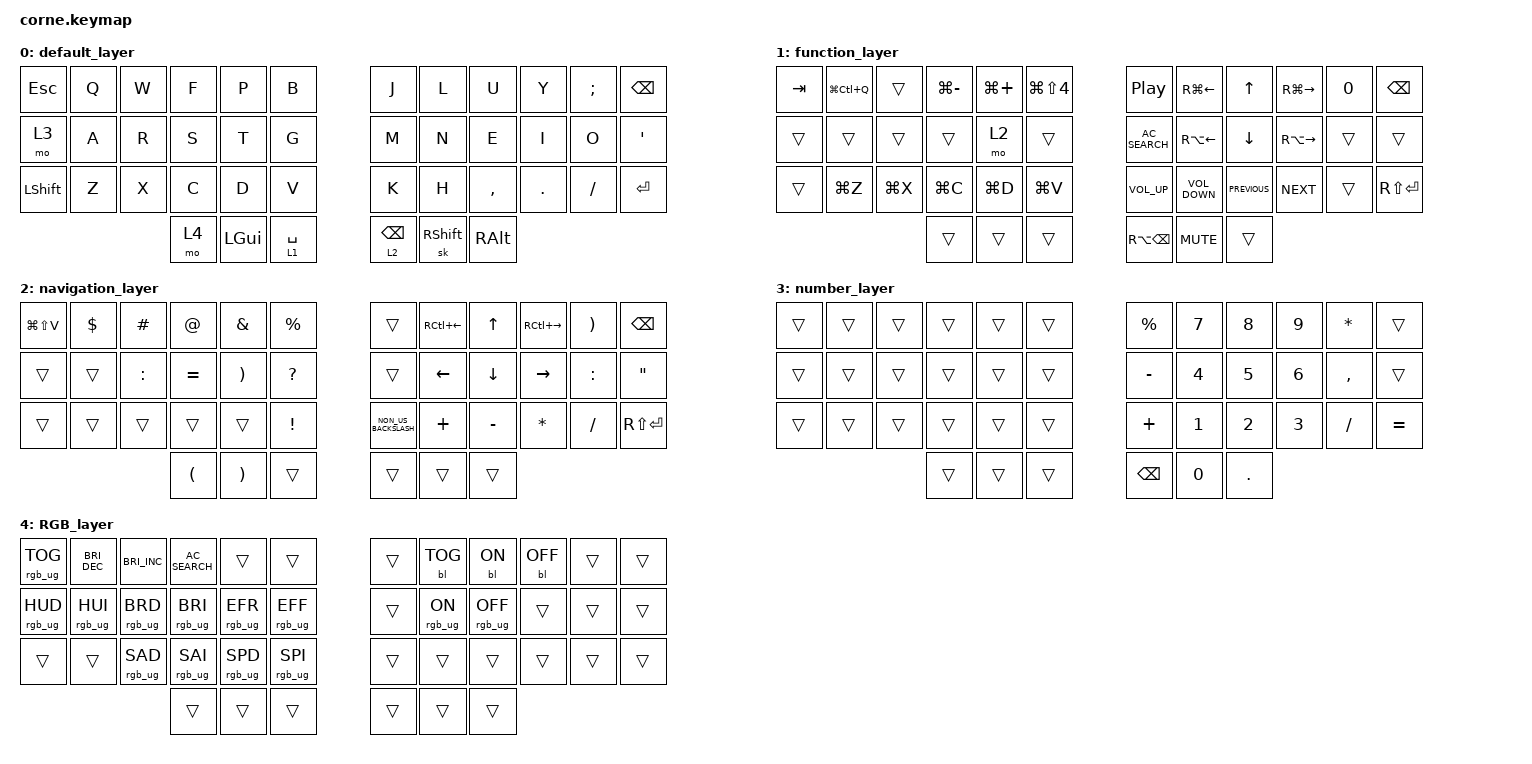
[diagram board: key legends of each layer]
/*
 * Copyright (c) 2020 The ZMK Contributors
 *
 * SPDX-License-Identifier: MIT
 */

#include <behaviors.dtsi>
#include <dt-bindings/zmk/backlight.h>
#include <dt-bindings/zmk/keys.h>
#include <dt-bindings/zmk/rgb.h>

/ {
    keymap {
        compatible = "zmk,keymap";

        default_layer {
            // -----------------------------------------------------------------------------------------
            // |  TAB |  Q  |  W  |  E  |  R  |  T  |   |  Y  |  U   |  I  |  O  |  P  | BKSP |
            // | CTRL |  A  |  S  |  D  |  F  |  G  |   |  H  |  J   |  K  |  L  |  ;  |  '   |
            // | SHFT |  Z  |  X  |  C  |  V  |  B  |   |  N  |  M   |  ,  |  .  |  /  | ESC  |
            //                    | GUI | LWR | SPC |   | ENT | RSE  | ALT |

            bindings = <
&kp ESCAPE  &kp Q  &kp W  &kp F  &kp P         &kp B          &kp J            &kp L            &kp U      &kp Y    &kp SEMICOLON  &kp BSPC
&mo 3       &kp A  &kp R  &kp S  &kp T         &kp G          &kp M            &kp N            &kp E      &kp I    &kp O          &kp SQT
&kp LSHFT   &kp Z  &kp X  &kp C  &kp D         &kp V          &kp K            &kp H            &kp COMMA  &kp DOT  &kp FSLH       &kp ENTER
                          &mo 4  &kp LEFT_GUI  &lt 1 SPACE    &lt 2 BACKSPACE  &sk RIGHT_SHIFT  &kp RALT
            >;
        };

        function_layer {
            // -----------------------------------------------------------------------------------------
            // |  TAB |  1  |  2  |  3  |  4  |  5  |   |  6  |  7  |  8  |  9  |  0  | BKSP |
            // | BTCLR| BT1 | BT2 | BT3 | BT4 | BT5 |   | LFT | DWN |  UP | RGT |     |      |
            // | SHFT |     |     |     |     |     |   |     |     |     |     |     |      |
            //                    | GUI |     | SPC |   | ENT |     | ALT |

            bindings = <
&kp TAB  &kp LG(LC(Q))  &trans     &kp LG(MINUS)  &kp LG(PLUS)  &kp LG(LS(NUMBER_4))    &kp C_PLAY_PAUSE   &kp RG(LEFT_ARROW)  &kp UP_ARROW    &kp RG(RIGHT_ARROW)  &kp N0  &kp BSPC
&trans   &trans         &trans     &trans         &mo 2         &trans                  &kp C_AC_SEARCH    &kp RA(LEFT_ARROW)  &kp DOWN_ARROW  &kp RA(RIGHT)        &trans  &trans
&trans   &kp LG(Z)      &kp LG(X)  &kp LG(C)      &kp LG(D)     &kp LG(V)               &kp C_VOLUME_UP    &kp C_VOLUME_DOWN   &kp C_PREVIOUS  &kp C_NEXT           &trans  &kp RS(RETURN)
                                   &trans         &trans        &trans                  &kp RA(BACKSPACE)  &kp C_MUTE          &trans
            >;
        };

        navigation_layer {
            // -----------------------------------------------------------------------------------------
            // |  TAB |  !  |  @  |  #  |  $  |  %  |   |  ^  |  &  |  *  |  (  |  )  | BKSP |
            // | CTRL |     |     |     |     |     |   |  -  |  =  |  [  |  ]  |  \  |  `   |
            // | SHFT |     |     |     |     |     |   |  _  |  +  |  {  |  }  | "|" |  ~   |
            //                    | GUI |     | SPC |   | ENT |     | ALT |

            bindings = <
&kp LG(LS(V))  &kp DOLLAR  &kp HASH   &kp AT_SIGN           &kp AMPERSAND          &kp PRCNT          &trans                &kp RC(LEFT_ARROW)  &kp UP_ARROW    &kp RC(RIGHT_ARROW)  &kp RPAR   &kp BSPC
&trans         &trans      &kp COLON  &kp EQUAL             &kp RIGHT_PARENTHESIS  &kp QUESTION       &trans                &kp LEFT_ARROW      &kp DOWN_ARROW  &kp RIGHT_ARROW      &kp COLON  &kp DOUBLE_QUOTES
&trans         &trans      &trans     &trans                &trans                 &kp EXCLAMATION    &kp NON_US_BACKSLASH  &kp PLUS            &kp MINUS       &kp ASTERISK         &kp SLASH  &kp RS(RETURN)
                                      &kp LEFT_PARENTHESIS  &kp RIGHT_PARENTHESIS  &trans             &trans                &trans              &trans
            >;
        };

        number_layer {
            bindings = <
&trans  &trans  &trans  &trans  &trans  &trans    &kp PERCENT    &kp N7        &kp N8        &kp N9        &kp ASTERISK  &trans
&trans  &trans  &trans  &trans  &trans  &trans    &kp MINUS      &kp NUMBER_4  &kp N5        &kp NUMBER_6  &kp COMMA     &trans
&trans  &trans  &trans  &trans  &trans  &trans    &kp PLUS       &kp NUMBER_1  &kp NUMBER_2  &kp NUMBER_3  &kp SLASH     &kp EQUAL
                        &trans  &trans  &trans    &kp BACKSPACE  &kp N0        &kp PERIOD
            >;
        };

        RGB_layer {
            bindings = <
&rgb_ug RGB_TOG  &kp C_BRIGHTNESS_DEC  &kp C_BRI_INC    &kp C_AC_SEARCH  &trans           &trans             &trans  &bl BL_TOG      &bl BL_ON        &bl BL_OFF  &trans  &trans
&rgb_ug RGB_HUD  &rgb_ug RGB_HUI       &rgb_ug RGB_BRD  &rgb_ug RGB_BRI  &rgb_ug RGB_EFR  &rgb_ug RGB_EFF    &trans  &rgb_ug RGB_ON  &rgb_ug RGB_OFF  &trans      &trans  &trans
&trans           &trans                &rgb_ug RGB_SAD  &rgb_ug RGB_SAI  &rgb_ug RGB_SPD  &rgb_ug RGB_SPI    &trans  &trans          &trans           &trans      &trans  &trans
                                                        &trans           &trans           &trans             &trans  &trans          &trans
            >;
        };
    };
};
